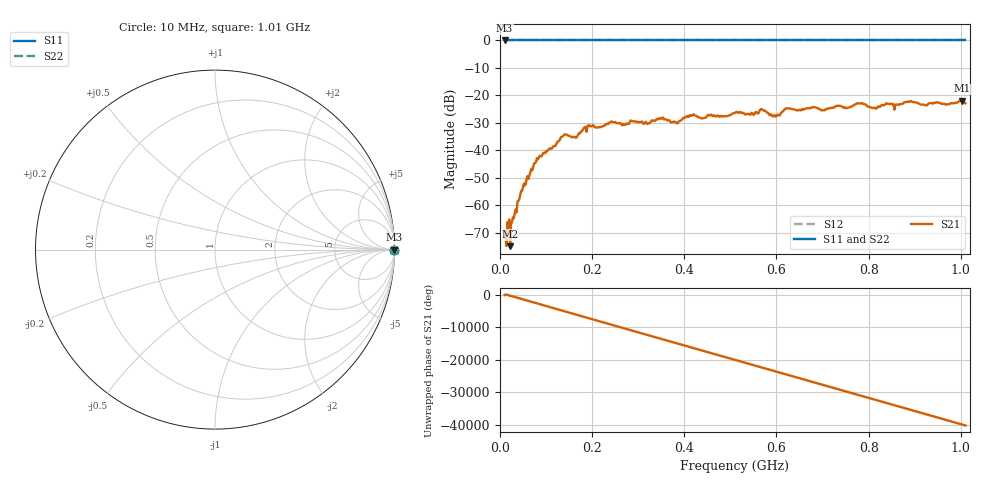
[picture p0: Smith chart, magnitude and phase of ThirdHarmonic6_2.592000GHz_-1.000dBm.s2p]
! 8/17/2025 5:33:35 AM
! C:\ANRITSUVNA\TEMP\TEMP.S2P
! CHANNEL.1
! TR.MEASUREMENT
! RAW.DATA
! RF.CORRECTION.OFF
! AVERAGING.OFF
! IF.BANDWIDTH: 5KHZ
! SWEEPTYPE:  FREQ.SWEEP(Linear)
! Reference Plane Port Info
! PORT:  PORT1  PORT2
! DISTANCE:  0  m  0  m
! TIME:  0  s  0  s
! PHASE.OFFSET:  0  deg.  0  deg.
! LOSS:  0  dB  0  dB
! REF.LOSS:  0  dB  0  dB
! REF.FREQ:  0  Hz  0  Hz
! Power Info
! POWER:  -20  dBm  -20  dBm
! EFF.POWER:  -20  dBm  -20  dBm
! SOURCE.ATTEN:  0  dB  0  dB
! TEST.ATTEN:  0  dB  0  dB
# GHZ S RI R 50.0
! FREQ.GHZ  S11RE  S11IM  S21RE  S21IM  S12RE  S12IM  S22RE  S22IM
!; PortSelection: Port_12
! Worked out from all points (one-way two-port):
!   501 points, 10 MHz to 1.01 GHz, reference 50 ohm
!   highest |S21| = -21.94 dB at 1.002 GHz (marker M1); lowest = -74.9 dB at 22 MHz (marker M2)
!   lowest |S11| = 0.0 dB at 10 MHz (marker M3)
!   |S11| at or under -10 dB: nowhere
!   |S22| runs from 0.0 to 0.0 dB; largest |S21 - S12| = 1.1
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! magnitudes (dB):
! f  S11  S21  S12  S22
! 10 MHz  0.0  -71.4  0.0  0.0
! 22 MHz  0.0  -74.9  0.0  0.0
! 48 MHz  0.0  -54.7  0.0  0.0
! 82 MHz  0.0  -43.3  0.0  0.0
! 136 MHz  0.0  -35.0  0.0  0.0
! 164 MHz  0.0  -35.4  0.0  0.0
! 178 MHz  0.0  -32.9  0.0  0.0
! 242 MHz  0.0  -29.5  0.0  0.0
! 322 MHz  0.0  -30.2  0.0  0.0
! 344 MHz  0.0  -28.7  0.0  0.0
! 384 MHz  0.0  -30.2  0.0  0.0
! 416 MHz  0.0  -27.4  0.0  0.0
! 510 MHz  0.0  -26.4  0.0  0.0
! 568 MHz  0.0  -25.0  0.0  0.0
! 596 MHz  0.0  -27.2  0.0  0.0
! 622 MHz  0.0  -24.8  0.0  0.0
! 678 MHz  0.0  -24.4  0.0  0.0
! 782 MHz  0.0  -22.9  0.0  0.0
! 814 MHz  0.0  -24.7  0.0  0.0
! 844 MHz  0.0  -23.1  0.0  0.0
! 1.002 GHz  0.0  -21.9  0.0  0.0
! 1.01 GHz  0.0  -22.8  0.0  0.0
